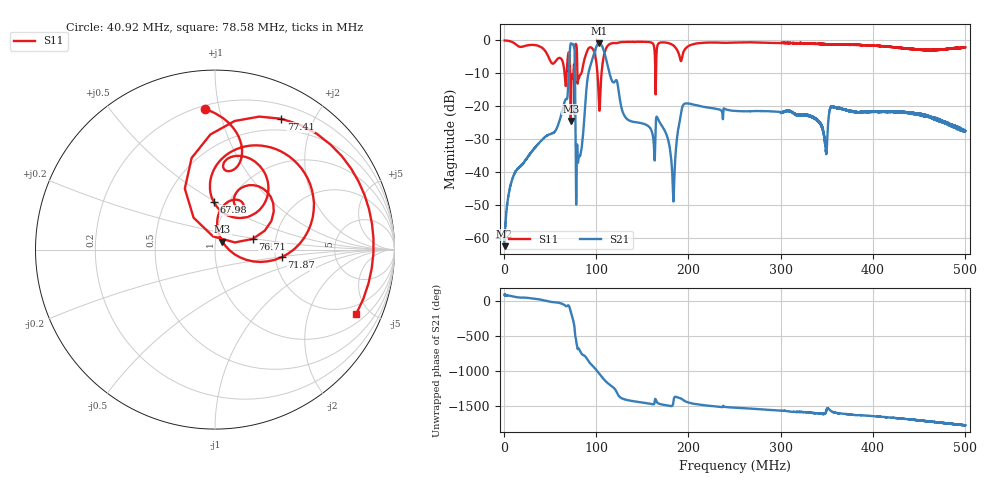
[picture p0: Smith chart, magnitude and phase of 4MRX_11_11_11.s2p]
! NanoVNA-App
! Date: 2026-08-19 14:30:48
! Start: 1MHz Stop: 500MHz Points: 6401
! S-Parameter data: F S11 S21 S12 S22
# Hz S RI R 50
!  Frequency  S11_Real  S11_Imag  S21_Real  S21_Imag  S12_Real  S12_Imag  S22_Real  S22_Imag
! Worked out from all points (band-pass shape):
!   6401 points, 1 MHz to 500 MHz, reference 50 ohm
!   highest |S21| = -0.86 dB at 103.5 MHz (marker M1); lowest = -62.5 dB at 1 MHz (marker M2)
!   |S21| within 3 dB of the highest: 71.51 MHz to 76.97 MHz (5.467 MHz wide, 7.36 % of centre); 97.99 MHz to 109.2 MHz (11.26 MHz wide, 10.9 % of centre)
!   lowest |S11| = -24.4 dB at 72.65 MHz (marker M3), VSWR 1.13, Z = 54.1 + j4.71 ohm
!   |S11| at or under -10 dB: 72 MHz to 75.5 MHz (3.504 MHz wide, 4.75 % of centre); 79.74 MHz to 84.1 MHz (4.361 MHz wide, 5.32 % of centre); 101.5 MHz to 106 MHz (4.438 MHz wide, 4.28 % of centre)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
!   S12 and S22 are empty: the file has one direction only
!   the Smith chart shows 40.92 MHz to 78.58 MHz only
!   S11 on the Smith chart (normalised r, x): 40.92 MHz: 0.22, +0.90; 67.98 MHz: 0.86, +0.49; 71.87 MHz: 2.17, -0.21; 76.71 MHz: 1.52, +0.19; 77.41 MHz: 0.36, +1.57; 78.58 MHz: 1.44, -4.11
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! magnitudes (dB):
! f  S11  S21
! 1 MHz  0.0  -62.5
! 10.67 MHz  -0.7  -41.1
! 40.92 MHz  -2.1  -30.4
! 67.98 MHz  -11.5  -17.8
! 71.87 MHz  -8.5  -2.3
! 72.65 MHz  -24.4  -0.9
! 76.71 MHz  -13.2  -2.3
! 77.41 MHz  -1.7  -14.6
! 78.58 MHz  -1.3  -48.9
! 80.45 MHz  -12.1  -37.2
! 84.19 MHz  -9.9  -33.2
! 95.42 MHz  -2.3  -6.2
! 103.5 MHz  -20.8  -0.9
! 111.9 MHz  -1.9  -6.9
! 132.2 MHz  -0.5  -23.5
! 167.4 MHz  -1.0  -24.0
! 183.5 MHz  -1.5  -47.4
! 195.6 MHz  -3.0  -19.3
! 250.5 MHz  -0.6  -21.4
! 333.7 MHz  -1.0  -23.1
! 416.9 MHz  -2.0  -21.7
! 500 MHz  -2.0  -27.4
